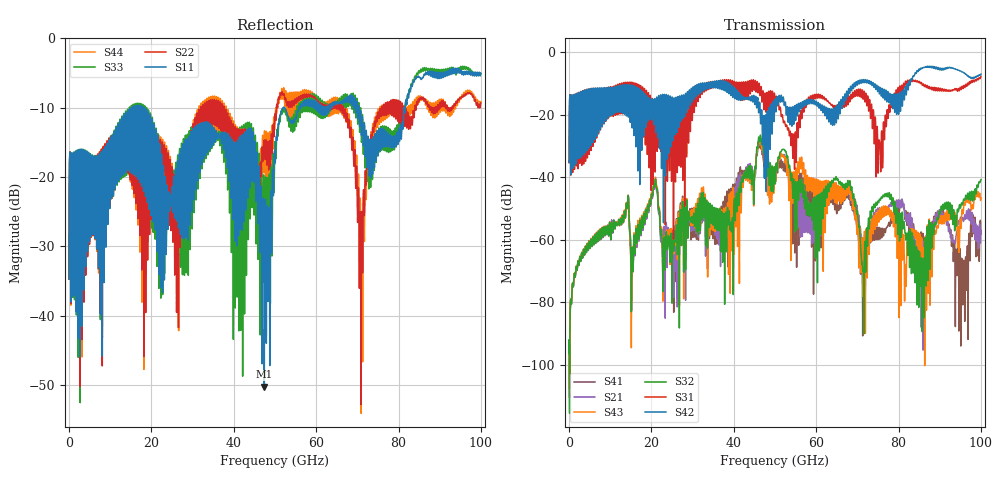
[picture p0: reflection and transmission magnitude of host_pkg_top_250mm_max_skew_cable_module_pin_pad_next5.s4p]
# Hz S RI R 50
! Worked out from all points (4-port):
!   10000 points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, 10 MHz to 100 GHz, reference 50 ohm
!   strongest paths, dB at 10 MHz, 25.01 GHz, 50.01 GHz, 75.01 GHz, 100 GHz:
!     S42: -35.3, -14.4, -15.0, -11.9, -7.0
!     S31: -35.3, -26.7, -16.0, -36.4, -7.8
!     S32: -96.4, -78.4, -40.7, -47.7, -40.8
!     S43: -96.6, -73.1, -37.5, -50.7, -46.7
!     S21: -96.5, -66.4, -41.4, -49.9, -56.9
!     S41: -96.7, -65.4, -39.6, -59.8, -58.3
!   lowest |S11| = -50.3 dB at 47.41 GHz (marker M1), VSWR 1.01, Z = 49.8 + j0.241 ohm
!   |S11| at or under -10 dB: start of sweep to 15.07 GHz; 18.33 GHz to 51.99 GHz (33.66 GHz wide, 95.7 % of centre); 70.38 GHz to 81.34 GHz (10.96 GHz wide, 14.4 % of centre)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
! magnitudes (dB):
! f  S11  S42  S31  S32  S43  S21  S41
! 10 MHz  -34.7  -35.3  -35.3  -96.4  -96.6  -96.5  -96.7
! 47.41 GHz  -50.3  -35.1  -15.3  -30.2  -33.0  -32.8  -35.6
! 68.13 GHz  -8.5  -13.2  -15.8  -41.1  -42.8  -44.0  -46.0
! 71.26 GHz  -11.4  -9.4  -13.2  -69.3  -59.4  -63.6  -78.1
! 75.38 GHz  -14.7  -13.3  -28.6  -47.0  -51.1  -49.7  -58.2
! 85.35 GHz  -5.7  -5.1  -10.0  -74.8  -63.9  -63.7  -61.0
! 100 GHz  -5.1  -7.0  -7.8  -40.8  -46.7  -56.9  -58.3
